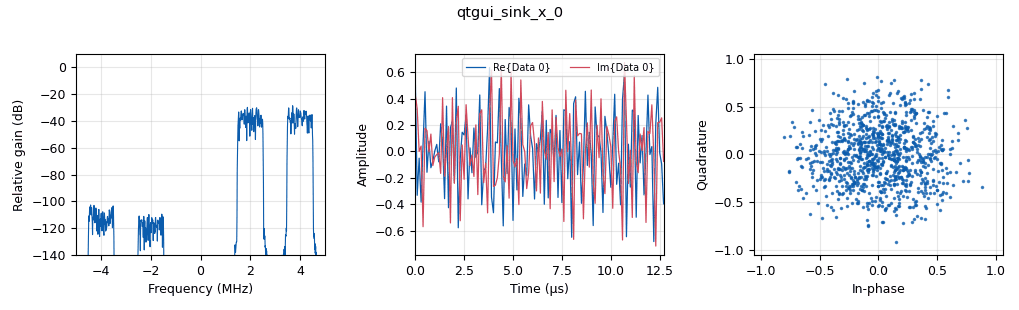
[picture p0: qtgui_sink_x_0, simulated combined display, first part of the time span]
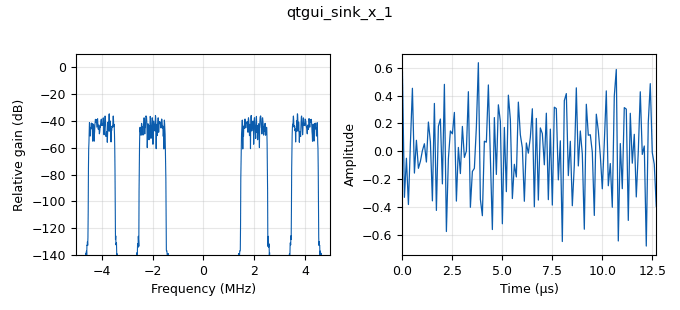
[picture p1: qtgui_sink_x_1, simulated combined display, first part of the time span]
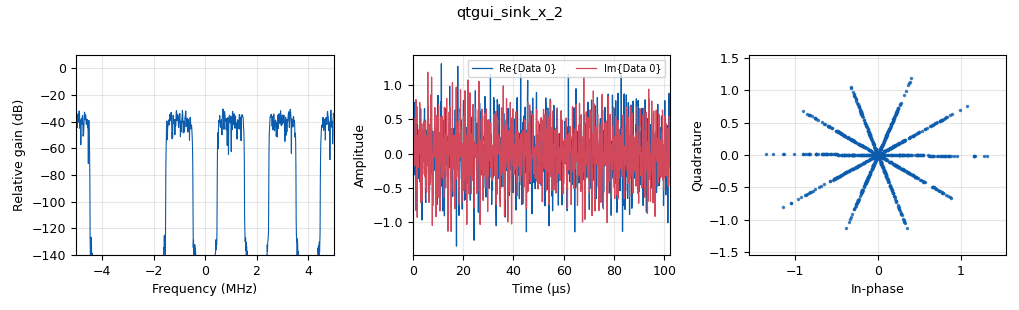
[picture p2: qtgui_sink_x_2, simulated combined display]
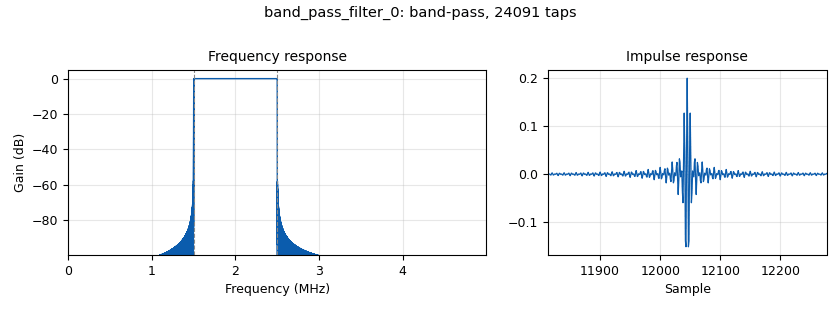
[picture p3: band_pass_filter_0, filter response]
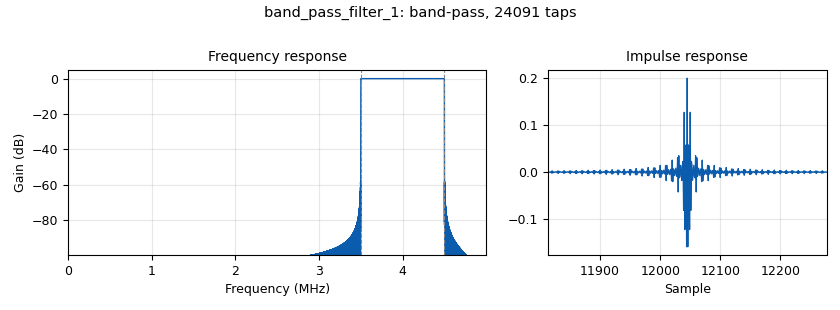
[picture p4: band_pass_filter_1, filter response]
<?xml version='1.0' encoding='utf-8'?>
<?grc format='1' created='3.7.12'?>
<flow_graph>
<block>
<key>options</key>
<param><key>id</key><value>top_block</value></param>
<param><key>generate_options</key><value>qt_gui</value></param>
</block>
<block>
<key>variable</key>
<param><key>id</key><value>samp_rate</value></param>
<param><key>value</key><value>1000000</value></param>
</block>
<block>
<key>variable</key>
<param><key>id</key><value>sps</value></param>
<param><key>value</key><value>10</value></param>
</block>
<block>
<key>variable_constellation</key>
<param><key>id</key><value>variable_constellation_0</value></param>
<param><key>type</key><value>16qam</value></param>
<param><key>precision</key><value>8</value></param>
</block>
<block>
<key>variable_constellation</key>
<param><key>id</key><value>variable_constellation_1</value></param>
<param><key>type</key><value>qpsk</value></param>
<param><key>precision</key><value>8</value></param>
</block>
<block>
<key>analog_random_source_x</key>
<param><key>id</key><value>analog_random_source_x_0</value></param>
<param><key>max</key><value>256</value></param>
<param><key>min</key><value>0</value></param>
<param><key>num_samps</key><value>1000</value></param>
<param><key>type</key><value>byte</value></param>
<param><key>repeat</key><value>True</value></param>
</block>
<block>
<key>analog_random_source_x</key>
<param><key>id</key><value>analog_random_source_x_1</value></param>
<param><key>max</key><value>256</value></param>
<param><key>min</key><value>0</value></param>
<param><key>num_samps</key><value>1000</value></param>
<param><key>type</key><value>byte</value></param>
<param><key>repeat</key><value>True</value></param>
</block>
<block>
<key>analog_sig_source_x</key>
<param><key>id</key><value>analog_sig_source_x_0</value></param>
<param><key>amp</key><value>1</value></param>
<param><key>freq</key><value>samp_rate * 2</value></param>
<param><key>offset</key><value>0</value></param>
<param><key>type</key><value>complex</value></param>
<param><key>samp_rate</key><value>samp_rate * 10</value></param>
<param><key>waveform</key><value>analog.GR_COS_WAVE</value></param>
</block>
<block>
<key>analog_sig_source_x</key>
<param><key>id</key><value>analog_sig_source_x_1</value></param>
<param><key>amp</key><value>1</value></param>
<param><key>freq</key><value>4e6</value></param>
<param><key>offset</key><value>0</value></param>
<param><key>type</key><value>complex</value></param>
<param><key>samp_rate</key><value>samp_rate * 10</value></param>
<param><key>waveform</key><value>analog.GR_COS_WAVE</value></param>
</block>
<block>
<key>analog_sig_source_x</key>
<param><key>id</key><value>analog_sig_source_x_2</value></param>
<param><key>amp</key><value>1</value></param>
<param><key>freq</key><value>3e6</value></param>
<param><key>offset</key><value>0</value></param>
<param><key>type</key><value>float</value></param>
<param><key>samp_rate</key><value>10e6</value></param>
<param><key>waveform</key><value>analog.GR_COS_WAVE</value></param>
</block>
<block>
<key>analog_sig_source_x</key>
<param><key>id</key><value>analog_sig_source_x_3</value></param>
<param><key>amp</key><value>-1</value></param>
<param><key>freq</key><value>3e6</value></param>
<param><key>offset</key><value>0</value></param>
<param><key>type</key><value>float</value></param>
<param><key>samp_rate</key><value>10e6</value></param>
<param><key>waveform</key><value>analog.GR_SIN_WAVE</value></param>
</block>
<block>
<key>band_pass_filter</key>
<param><key>id</key><value>band_pass_filter_0</value></param>
<param><key>decim</key><value>1</value></param>
<param><key>type</key><value>fir_filter_ccf</value></param>
<param><key>gain</key><value>1</value></param>
<param><key>high_cutoff_freq</key><value>2.5e6</value></param>
<param><key>low_cutoff_freq</key><value>1.5e6</value></param>
<param><key>samp_rate</key><value>10e6</value></param>
<param><key>width</key><value>1e3</value></param>
<param><key>win</key><value>firdes.WIN_HAMMING</value></param>
</block>
<block>
<key>band_pass_filter</key>
<param><key>id</key><value>band_pass_filter_1</value></param>
<param><key>decim</key><value>1</value></param>
<param><key>type</key><value>fir_filter_ccf</value></param>
<param><key>gain</key><value>1</value></param>
<param><key>high_cutoff_freq</key><value>4.5e6</value></param>
<param><key>low_cutoff_freq</key><value>3.5e6</value></param>
<param><key>samp_rate</key><value>10e6</value></param>
<param><key>width</key><value>1e3</value></param>
<param><key>win</key><value>firdes.WIN_HAMMING</value></param>
</block>
<block>
<key>blocks_add_xx</key>
<param><key>id</key><value>blocks_add_xx_0</value></param>
<param><key>type</key><value>complex</value></param>
</block>
<block>
<key>blocks_complex_to_real</key>
<param><key>id</key><value>blocks_complex_to_real_0</value></param>
</block>
<block>
<key>blocks_float_to_complex</key>
<param><key>id</key><value>blocks_float_to_complex_0</value></param>
</block>
<block>
<key>blocks_multiply_xx</key>
<param><key>id</key><value>blocks_multiply_xx_0</value></param>
<param><key>type</key><value>complex</value></param>
</block>
<block>
<key>blocks_multiply_xx</key>
<param><key>id</key><value>blocks_multiply_xx_1</value></param>
<param><key>type</key><value>complex</value></param>
</block>
<block>
<key>blocks_multiply_xx</key>
<param><key>id</key><value>blocks_multiply_xx_2</value></param>
<param><key>type</key><value>float</value></param>
</block>
<block>
<key>blocks_multiply_xx</key>
<param><key>id</key><value>blocks_multiply_xx_3</value></param>
<param><key>type</key><value>float</value></param>
</block>
<block>
<key>blocks_throttle</key>
<param><key>id</key><value>blocks_throttle_0</value></param>
<param><key>samples_per_second</key><value>samp_rate/2</value></param>
<param><key>type</key><value>byte</value></param>
</block>
<block>
<key>blocks_throttle</key>
<param><key>id</key><value>blocks_throttle_1</value></param>
<param><key>samples_per_second</key><value>samp_rate/4</value></param>
<param><key>type</key><value>byte</value></param>
</block>
<block>
<key>channels_fading_model</key>
<param><key>id</key><value>channels_fading_model_0</value></param>
<param><key>LOS</key><value>False</value></param>
<param><key>fDTs</key><value>10.0/samp_rate</value></param>
<param><key>N</key><value>8</value></param>
<param><key>seed</key><value>0</value></param>
</block>
<block>
<key>channels_fading_model</key>
<param><key>id</key><value>channels_fading_model_1</value></param>
<param><key>LOS</key><value>False</value></param>
<param><key>fDTs</key><value>10.0/samp_rate</value></param>
<param><key>N</key><value>8</value></param>
<param><key>seed</key><value>0</value></param>
</block>
<block>
<key>digital_constellation_modulator</key>
<param><key>id</key><value>digital_constellation_modulator_0</value></param>
<param><key>constellation</key><value>variable_constellation_0</value></param>
<param><key>differential</key><value>True</value></param>
<param><key>excess_bw</key><value>0.35</value></param>
<param><key>samples_per_symbol</key><value>sps</value></param>
</block>
<block>
<key>digital_constellation_modulator</key>
<param><key>id</key><value>digital_constellation_modulator_1</value></param>
<param><key>constellation</key><value>variable_constellation_1</value></param>
<param><key>differential</key><value>True</value></param>
<param><key>excess_bw</key><value>0.35</value></param>
<param><key>samples_per_symbol</key><value>sps</value></param>
</block>
<block>
<key>low_pass_filter</key>
<param><key>id</key><value>low_pass_filter_0</value></param>
<param><key>cutoff_freq</key><value>5e6</value></param>
<param><key>decim</key><value>1</value></param>
<param><key>type</key><value>fir_filter_fff</value></param>
<param><key>gain</key><value>1</value></param>
<param><key>samp_rate</key><value>10e6</value></param>
<param><key>width</key><value>1e3</value></param>
<param><key>win</key><value>firdes.WIN_HAMMING</value></param>
</block>
<block>
<key>low_pass_filter</key>
<param><key>id</key><value>low_pass_filter_0_0</value></param>
<param><key>cutoff_freq</key><value>5e6</value></param>
<param><key>decim</key><value>1</value></param>
<param><key>type</key><value>fir_filter_fff</value></param>
<param><key>gain</key><value>1</value></param>
<param><key>samp_rate</key><value>10e6</value></param>
<param><key>width</key><value>1e3</value></param>
<param><key>win</key><value>firdes.WIN_HAMMING</value></param>
</block>
<block>
<key>qtgui_sink_x</key>
<param><key>id</key><value>qtgui_sink_x_0</value></param>
<param><key>bw</key><value>10e6</value></param>
<param><key>fc</key><value>0</value></param>
<param><key>freqchangevar</key><value>None</value></param>
<param><key>fftsize</key><value>1024</value></param>
<param><key>showports</key><value>True</value></param>
<param><key>type</key><value>complex</value></param>
<param><key>wintype</key><value>firdes.WIN_BLACKMAN_hARRIS</value></param>
</block>
<block>
<key>qtgui_sink_x</key>
<param><key>id</key><value>qtgui_sink_x_1</value></param>
<param><key>bw</key><value>10e6</value></param>
<param><key>fc</key><value>0</value></param>
<param><key>freqchangevar</key><value>None</value></param>
<param><key>fftsize</key><value>1024</value></param>
<param><key>showports</key><value>True</value></param>
<param><key>type</key><value>float</value></param>
<param><key>wintype</key><value>firdes.WIN_BLACKMAN_hARRIS</value></param>
</block>
<block>
<key>qtgui_sink_x</key>
<param><key>id</key><value>qtgui_sink_x_2</value></param>
<param><key>bw</key><value>10e6</value></param>
<param><key>fc</key><value>0</value></param>
<param><key>freqchangevar</key><value>None</value></param>
<param><key>fftsize</key><value>1024</value></param>
<param><key>showports</key><value>True</value></param>
<param><key>type</key><value>complex</value></param>
<param><key>wintype</key><value>firdes.WIN_BLACKMAN_hARRIS</value></param>
</block>
<block>
<key>root_raised_cosine_filter</key>
<param><key>id</key><value>root_raised_cosine_filter_0</value></param>
<param><key>alpha</key><value>0.35</value></param>
<param><key>decim</key><value>1</value></param>
<param><key>type</key><value>fir_filter_ccf</value></param>
<param><key>gain</key><value>1</value></param>
<param><key>ntaps</key><value>11*sps</value></param>
<param><key>samp_rate</key><value>1</value></param>
<param><key>sym_rate</key><value>sps</value></param>
</block>
<block>
<key>root_raised_cosine_filter</key>
<param><key>id</key><value>root_raised_cosine_filter_1</value></param>
<param><key>alpha</key><value>0.35</value></param>
<param><key>decim</key><value>1</value></param>
<param><key>type</key><value>fir_filter_ccf</value></param>
<param><key>gain</key><value>1</value></param>
<param><key>ntaps</key><value>11*sps</value></param>
<param><key>samp_rate</key><value>1</value></param>
<param><key>sym_rate</key><value>sps</value></param>
</block>
<connection><source_block_id>analog_random_source_x_0</source_block_id><sink_block_id>blocks_throttle_0</sink_block_id><source_key>0</source_key><sink_key>0</sink_key></connection>
<connection><source_block_id>analog_random_source_x_1</source_block_id><sink_block_id>blocks_throttle_1</sink_block_id><source_key>0</source_key><sink_key>0</sink_key></connection>
<connection><source_block_id>analog_sig_source_x_0</source_block_id><sink_block_id>blocks_multiply_xx_0</sink_block_id><source_key>0</source_key><sink_key>0</sink_key></connection>
<connection><source_block_id>analog_sig_source_x_1</source_block_id><sink_block_id>blocks_multiply_xx_1</sink_block_id><source_key>0</source_key><sink_key>1</sink_key></connection>
<connection><source_block_id>analog_sig_source_x_2</source_block_id><sink_block_id>blocks_multiply_xx_2</sink_block_id><source_key>0</source_key><sink_key>1</sink_key></connection>
<connection><source_block_id>analog_sig_source_x_3</source_block_id><sink_block_id>blocks_multiply_xx_3</sink_block_id><source_key>0</source_key><sink_key>0</sink_key></connection>
<connection><source_block_id>band_pass_filter_0</source_block_id><sink_block_id>blocks_add_xx_0</sink_block_id><source_key>0</source_key><sink_key>0</sink_key></connection>
<connection><source_block_id>band_pass_filter_1</source_block_id><sink_block_id>blocks_add_xx_0</sink_block_id><source_key>0</source_key><sink_key>1</sink_key></connection>
<connection><source_block_id>blocks_add_xx_0</source_block_id><sink_block_id>blocks_complex_to_real_0</sink_block_id><source_key>0</source_key><sink_key>0</sink_key></connection>
<connection><source_block_id>blocks_add_xx_0</source_block_id><sink_block_id>qtgui_sink_x_0</sink_block_id><source_key>0</source_key><sink_key>0</sink_key></connection>
<connection><source_block_id>blocks_complex_to_real_0</source_block_id><sink_block_id>blocks_multiply_xx_2</sink_block_id><source_key>0</source_key><sink_key>0</sink_key></connection>
<connection><source_block_id>blocks_complex_to_real_0</source_block_id><sink_block_id>blocks_multiply_xx_3</sink_block_id><source_key>0</source_key><sink_key>1</sink_key></connection>
<connection><source_block_id>blocks_complex_to_real_0</source_block_id><sink_block_id>qtgui_sink_x_1</sink_block_id><source_key>0</source_key><sink_key>0</sink_key></connection>
<connection><source_block_id>blocks_float_to_complex_0</source_block_id><sink_block_id>qtgui_sink_x_2</sink_block_id><source_key>0</source_key><sink_key>0</sink_key></connection>
<connection><source_block_id>blocks_multiply_xx_0</source_block_id><sink_block_id>band_pass_filter_0</sink_block_id><source_key>0</source_key><sink_key>0</sink_key></connection>
<connection><source_block_id>blocks_multiply_xx_1</source_block_id><sink_block_id>band_pass_filter_1</sink_block_id><source_key>0</source_key><sink_key>0</sink_key></connection>
<connection><source_block_id>blocks_multiply_xx_2</source_block_id><sink_block_id>low_pass_filter_0_0</sink_block_id><source_key>0</source_key><sink_key>0</sink_key></connection>
<connection><source_block_id>blocks_multiply_xx_3</source_block_id><sink_block_id>low_pass_filter_0</sink_block_id><source_key>0</source_key><sink_key>0</sink_key></connection>
<connection><source_block_id>blocks_throttle_0</source_block_id><sink_block_id>digital_constellation_modulator_0</sink_block_id><source_key>0</source_key><sink_key>0</sink_key></connection>
<connection><source_block_id>blocks_throttle_1</source_block_id><sink_block_id>digital_constellation_modulator_1</sink_block_id><source_key>0</source_key><sink_key>0</sink_key></connection>
<connection><source_block_id>channels_fading_model_0</source_block_id><sink_block_id>blocks_multiply_xx_0</sink_block_id><source_key>0</source_key><sink_key>1</sink_key></connection>
<connection><source_block_id>channels_fading_model_1</source_block_id><sink_block_id>blocks_multiply_xx_1</sink_block_id><source_key>0</source_key><sink_key>0</sink_key></connection>
<connection><source_block_id>digital_constellation_modulator_0</source_block_id><sink_block_id>root_raised_cosine_filter_0</sink_block_id><source_key>0</source_key><sink_key>0</sink_key></connection>
<connection><source_block_id>digital_constellation_modulator_1</source_block_id><sink_block_id>root_raised_cosine_filter_1</sink_block_id><source_key>0</source_key><sink_key>0</sink_key></connection>
<connection><source_block_id>low_pass_filter_0</source_block_id><sink_block_id>blocks_float_to_complex_0</sink_block_id><source_key>0</source_key><sink_key>1</sink_key></connection>
<connection><source_block_id>low_pass_filter_0_0</source_block_id><sink_block_id>blocks_float_to_complex_0</sink_block_id><source_key>0</source_key><sink_key>0</sink_key></connection>
<connection><source_block_id>root_raised_cosine_filter_0</source_block_id><sink_block_id>channels_fading_model_0</sink_block_id><source_key>0</source_key><sink_key>0</sink_key></connection>
<connection><source_block_id>root_raised_cosine_filter_1</source_block_id><sink_block_id>channels_fading_model_1</sink_block_id><source_key>0</source_key><sink_key>0</sink_key></connection>
</flow_graph>
